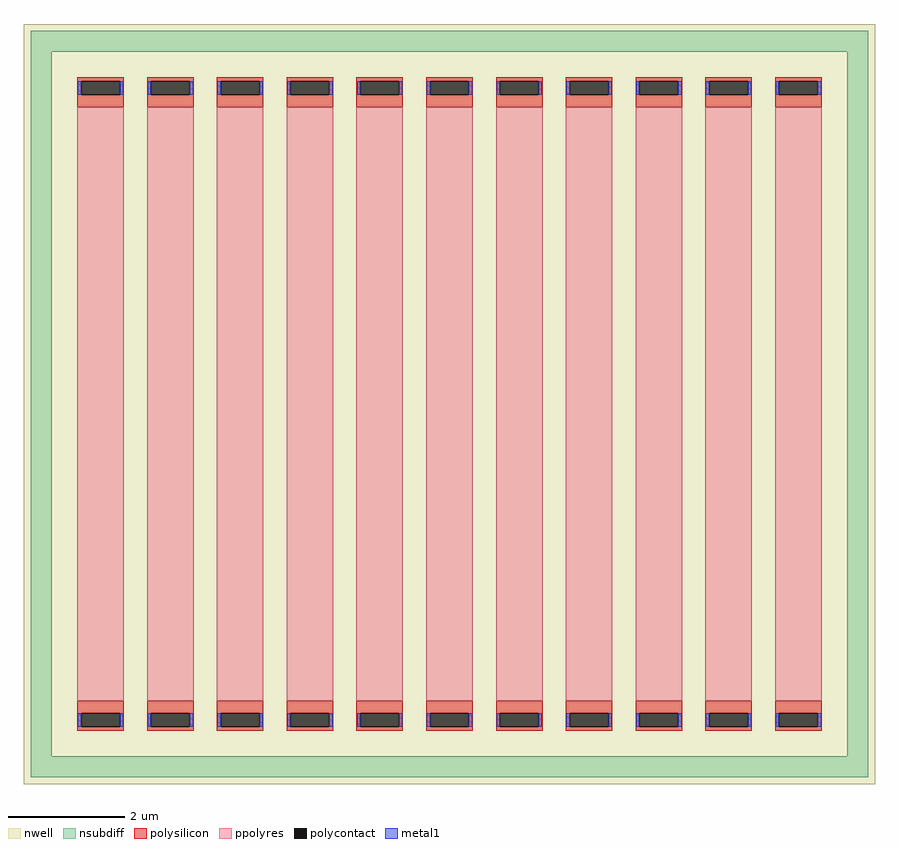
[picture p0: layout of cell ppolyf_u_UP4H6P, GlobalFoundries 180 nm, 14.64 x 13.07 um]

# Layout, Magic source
magic
tech gf180mcuC
magscale 1 10
<< nwell >>
rect -1464 -1307 1464 1307
<< nsubdiff >>
rect -1440 1211 1440 1283
rect -1440 -1211 -1368 1211
rect 1368 -1211 1440 1211
rect -1440 -1283 1440 -1211
<< polysilicon >>
rect -1280 1110 -1120 1123
rect -1280 1064 -1267 1110
rect -1133 1064 -1120 1110
rect -1280 1020 -1120 1064
rect -1280 -1064 -1120 -1020
rect -1280 -1110 -1267 -1064
rect -1133 -1110 -1120 -1064
rect -1280 -1123 -1120 -1110
rect -1040 1110 -880 1123
rect -1040 1064 -1027 1110
rect -893 1064 -880 1110
rect -1040 1020 -880 1064
rect -1040 -1064 -880 -1020
rect -1040 -1110 -1027 -1064
rect -893 -1110 -880 -1064
rect -1040 -1123 -880 -1110
rect -800 1110 -640 1123
rect -800 1064 -787 1110
rect -653 1064 -640 1110
rect -800 1020 -640 1064
rect -800 -1064 -640 -1020
rect -800 -1110 -787 -1064
rect -653 -1110 -640 -1064
rect -800 -1123 -640 -1110
rect -560 1110 -400 1123
rect -560 1064 -547 1110
rect -413 1064 -400 1110
rect -560 1020 -400 1064
rect -560 -1064 -400 -1020
rect -560 -1110 -547 -1064
rect -413 -1110 -400 -1064
rect -560 -1123 -400 -1110
rect -320 1110 -160 1123
rect -320 1064 -307 1110
rect -173 1064 -160 1110
rect -320 1020 -160 1064
rect -320 -1064 -160 -1020
rect -320 -1110 -307 -1064
rect -173 -1110 -160 -1064
rect -320 -1123 -160 -1110
rect -80 1110 80 1123
rect -80 1064 -67 1110
rect 67 1064 80 1110
rect -80 1020 80 1064
rect -80 -1064 80 -1020
rect -80 -1110 -67 -1064
rect 67 -1110 80 -1064
rect -80 -1123 80 -1110
rect 160 1110 320 1123
rect 160 1064 173 1110
rect 307 1064 320 1110
rect 160 1020 320 1064
rect 160 -1064 320 -1020
rect 160 -1110 173 -1064
rect 307 -1110 320 -1064
rect 160 -1123 320 -1110
rect 400 1110 560 1123
rect 400 1064 413 1110
rect 547 1064 560 1110
rect 400 1020 560 1064
rect 400 -1064 560 -1020
rect 400 -1110 413 -1064
rect 547 -1110 560 -1064
rect 400 -1123 560 -1110
rect 640 1110 800 1123
rect 640 1064 653 1110
rect 787 1064 800 1110
rect 640 1020 800 1064
rect 640 -1064 800 -1020
rect 640 -1110 653 -1064
rect 787 -1110 800 -1064
rect 640 -1123 800 -1110
rect 880 1110 1040 1123
rect 880 1064 893 1110
rect 1027 1064 1040 1110
rect 880 1020 1040 1064
rect 880 -1064 1040 -1020
rect 880 -1110 893 -1064
rect 1027 -1110 1040 -1064
rect 880 -1123 1040 -1110
rect 1120 1110 1280 1123
rect 1120 1064 1133 1110
rect 1267 1064 1280 1110
rect 1120 1020 1280 1064
rect 1120 -1064 1280 -1020
rect 1120 -1110 1133 -1064
rect 1267 -1110 1280 -1064
rect 1120 -1123 1280 -1110
<< polycontact >>
rect -1267 1064 -1133 1110
rect -1267 -1110 -1133 -1064
rect -1027 1064 -893 1110
rect -1027 -1110 -893 -1064
rect -787 1064 -653 1110
rect -787 -1110 -653 -1064
rect -547 1064 -413 1110
rect -547 -1110 -413 -1064
rect -307 1064 -173 1110
rect -307 -1110 -173 -1064
rect -67 1064 67 1110
rect -67 -1110 67 -1064
rect 173 1064 307 1110
rect 173 -1110 307 -1064
rect 413 1064 547 1110
rect 413 -1110 547 -1064
rect 653 1064 787 1110
rect 653 -1110 787 -1064
rect 893 1064 1027 1110
rect 893 -1110 1027 -1064
rect 1133 1064 1267 1110
rect 1133 -1110 1267 -1064
<< ppolyres >>
rect -1280 -1020 -1120 1020
rect -1040 -1020 -880 1020
rect -800 -1020 -640 1020
rect -560 -1020 -400 1020
rect -320 -1020 -160 1020
rect -80 -1020 80 1020
rect 160 -1020 320 1020
rect 400 -1020 560 1020
rect 640 -1020 800 1020
rect 880 -1020 1040 1020
rect 1120 -1020 1280 1020
<< metal1 >>
rect -1278 1064 -1267 1110
rect -1133 1064 -1122 1110
rect -1038 1064 -1027 1110
rect -893 1064 -882 1110
rect -798 1064 -787 1110
rect -653 1064 -642 1110
rect -558 1064 -547 1110
rect -413 1064 -402 1110
rect -318 1064 -307 1110
rect -173 1064 -162 1110
rect -78 1064 -67 1110
rect 67 1064 78 1110
rect 162 1064 173 1110
rect 307 1064 318 1110
rect 402 1064 413 1110
rect 547 1064 558 1110
rect 642 1064 653 1110
rect 787 1064 798 1110
rect 882 1064 893 1110
rect 1027 1064 1038 1110
rect 1122 1064 1133 1110
rect 1267 1064 1278 1110
rect -1278 -1110 -1267 -1064
rect -1133 -1110 -1122 -1064
rect -1038 -1110 -1027 -1064
rect -893 -1110 -882 -1064
rect -798 -1110 -787 -1064
rect -653 -1110 -642 -1064
rect -558 -1110 -547 -1064
rect -413 -1110 -402 -1064
rect -318 -1110 -307 -1064
rect -173 -1110 -162 -1064
rect -78 -1110 -67 -1064
rect 67 -1110 78 -1064
rect 162 -1110 173 -1064
rect 307 -1110 318 -1064
rect 402 -1110 413 -1064
rect 547 -1110 558 -1064
rect 642 -1110 653 -1064
rect 787 -1110 798 -1064
rect 882 -1110 893 -1064
rect 1027 -1110 1038 -1064
rect 1122 -1110 1133 -1064
rect 1267 -1110 1278 -1064
<< properties >>
string FIXED_BBOX -1404 -1247 1404 1247
string gencell ppolyf_u
string library gf180mcu
string parameters w 0.8 l 10.2 m 1 nx 11 wmin 0.80 lmin 1.00 rho 315 val 4.401k dummy 0 dw 0.07 term 0.0 sterm 0.0 caplen 0.4 snake 0 glc 0 grc 0 gtc 0 gbc 0 roverlap 0 endcov 100 full_metal 0
<< end >>
